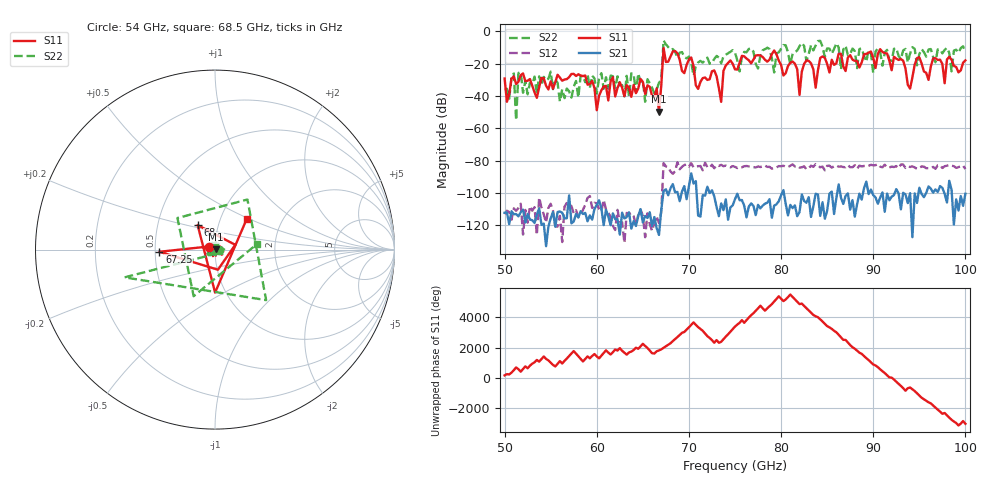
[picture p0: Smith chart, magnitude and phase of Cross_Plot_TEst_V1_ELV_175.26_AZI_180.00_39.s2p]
! 11/25/2026 1:33:27 PM
! C:\ANRITSUVNA\TEMP\TEMP.S2P
! CHANNEL.1
! TR.MEASUREMENT
! RAW.DATA
# HZ S RI R 50.0
! FREQ.HZ  S11RE  S11IM  S21RE  S21IM  S12RE  S12IM  S22RE  S22IM
!; PortSelection: Port_12
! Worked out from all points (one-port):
!   201 points, 50 GHz to 100 GHz, reference 50 ohm
!   lowest |S11| = -49.7 dB at 66.75 GHz (marker M1), VSWR 1.01, Z = 50.3 + j0.0719 ohm
!   |S11| at or under -10 dB: start of sweep to end of sweep
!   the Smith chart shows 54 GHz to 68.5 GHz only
!   S11 on the Smith chart (normalised r, x): 54 GHz: 0.93, +0.03; 67.25 GHz: 0.53, -0.01; 68 GHz: 0.80, +0.22; 68.5 GHz: 1.33, +0.49
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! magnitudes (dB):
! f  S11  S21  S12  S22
! 50 GHz  -29.1  -112.3  -113.2  -35.5
! 51 GHz  -27.9  -113.2  -109.6  -26.0
! 51.25 GHz  -32.6  -113.1  -111.1  -55.0
! 51.5 GHz  -31.2  -114.5  -109.4  -25.7
! 54 GHz  -28.7  -119.8  -109.1  -33.3
! 58.5 GHz  -27.6  -113.1  -110.6  -27.6
! 60 GHz  -48.8  -107.5  -106.6  -38.5
! 61.75 GHz  -28.4  -112.7  -120.5  -27.7
! 66.75 GHz  -49.7  -126.0  -118.6  -31.9
! 67.25 GHz  -10.2  -98.7  -81.5  -5.6
! 68 GHz  -15.5  -97.2  -86.7  -11.3
! 68.5 GHz  -12.1  -99.7  -86.6  -12.6
! 73.5 GHz  -43.6  -106.5  -82.6  -19.7
! 73.75 GHz  -24.4  -110.7  -83.5  -15.4
! 75 GHz  -23.5  -103.9  -83.9  -13.0
! 79.25 GHz  -11.8  -107.9  -84.8  -25.4
! 82 GHz  -39.3  -111.9  -84.3  -9.2
! 83.5 GHz  -23.5  -108.3  -83.8  -11.8
! 91.75 GHz  -18.2  -104.6  -84.3  -17.6
! 94 GHz  -35.4  -100.2  -84.0  -13.7
! 94.75 GHz  -16.5  -106.2  -85.1  -21.0
! 100 GHz  -17.9  -100.5  -85.3  -12.8
